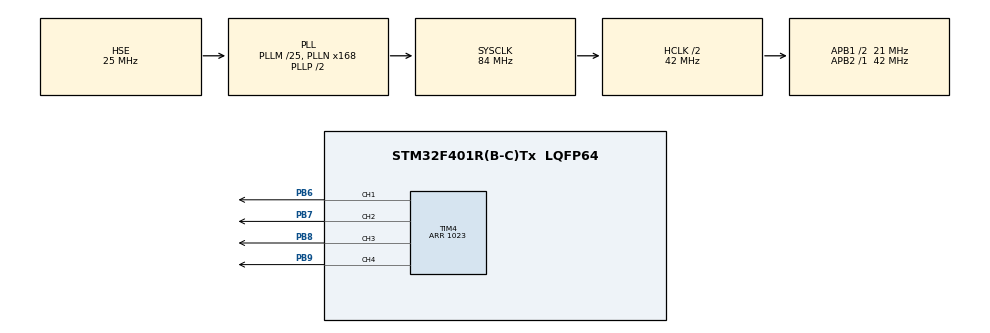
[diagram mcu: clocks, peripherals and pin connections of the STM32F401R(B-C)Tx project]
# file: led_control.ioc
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Mcu.Family=STM32F4
Mcu.Name=STM32F401R(B-C)Tx
Mcu.Package=LQFP64
NVIC.PriorityGroup=NVIC_PRIORITYGROUP_4
PB6.Signal=S_TIM4_CH1
PB7.Signal=S_TIM4_CH2
PB8.Signal=S_TIM4_CH3
PB9.Signal=S_TIM4_CH4
PH0\ -\ OSC_IN.Mode=HSE-External-Oscillator
PH0\ -\ OSC_IN.Signal=RCC_OSC_IN
PH1\ -\ OSC_OUT.Mode=HSE-External-Oscillator
PH1\ -\ OSC_OUT.Signal=RCC_OSC_OUT
ProjectManager.HeapSize=0x200
ProjectManager.StackSize=0x400
ProjectManager.TargetToolchain=STM32CubeIDE
RCC.48MHZClocksFreq_Value=42000000
RCC.AHBCLKDivider=RCC_SYSCLK_DIV2
RCC.AHBFreq_Value=42000000
RCC.APB1CLKDivider=RCC_HCLK_DIV2
RCC.APB1Freq_Value=21000000
RCC.APB1TimFreq_Value=42000000
RCC.APB2Freq_Value=42000000
RCC.APB2TimFreq_Value=42000000
RCC.CortexFreq_Value=42000000
RCC.HCLKFreq_Value=42000000
RCC.HSE_VALUE=25000000
RCC.HSI_VALUE=16000000
RCC.LSE_VALUE=32768
RCC.PLLM=25
RCC.PLLN=168
RCC.PLLSourceVirtual=RCC_PLLSOURCE_HSE
RCC.SYSCLKFreq_VALUE=84000000
RCC.SYSCLKSource=RCC_SYSCLKSOURCE_PLLCLK
RCC.VCOOutputFreq_Value=168000000
SH.S_TIM4_CH1.0=TIM4_CH1,PWM Generation1 CH1
SH.S_TIM4_CH2.0=TIM4_CH2,PWM Generation2 CH2
SH.S_TIM4_CH3.0=TIM4_CH3,PWM Generation3 CH3
SH.S_TIM4_CH4.0=TIM4_CH4,PWM Generation4 CH4
TIM4.Channel-PWM\ Generation1\ CH1=TIM_CHANNEL_1
TIM4.Channel-PWM\ Generation2\ CH2=TIM_CHANNEL_2
TIM4.Channel-PWM\ Generation3\ CH3=TIM_CHANNEL_3
TIM4.Channel-PWM\ Generation4\ CH4=TIM_CHANNEL_4
TIM4.Period=1023
VP_TIM4_VS_ClockSourceINT.Mode=Internal
board=custom

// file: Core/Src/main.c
/* USER CODE BEGIN Header */
/**
  ******************************************************************************
  * @file           : main.c
  * @brief          : Main program body
  ******************************************************************************
  * @attention
  *
  * Copyright (c) 2024 STMicroelectronics.
  * All rights reserved.
  *
  * This software is licensed under terms that can be found in the LICENSE file
  * in the root directory of this software component.
  * If no LICENSE file comes with this software, it is provided AS-IS.
  *
  ******************************************************************************
  */
/* USER CODE END Header */
#include "main.h"

TIM_HandleTypeDef htim4;

void SystemClock_Config(void);
static void MX_GPIO_Init(void);
static void MX_TIM4_Init(void);

int main(void)
{

  /* MCU Configuration--------------------------------------------------------*/

  /* Reset of all peripherals, Initializes the Flash interface and the Systick. */
  HAL_Init();

  /* Configure the system clock */
  SystemClock_Config();

  /* Initialize all configured peripherals */
  MX_GPIO_Init();
  MX_TIM4_Init();
  /* USER CODE BEGIN 2 */
  HAL_TIM_PWM_Start(&htim4, TIM_CHANNEL_1);
  HAL_TIM_PWM_Start(&htim4, TIM_CHANNEL_2);
  HAL_TIM_PWM_Start(&htim4, TIM_CHANNEL_3);
  HAL_TIM_PWM_Start(&htim4, TIM_CHANNEL_4);
  /* USER CODE END 2 */

  /* Infinite loop */
  /* USER CODE BEGIN WHILE */
  int activeChan = 0;
  __IO uint32_t* channels[] = {
      &htim4.Instance->CCR1,
      &htim4.Instance->CCR2,
      &htim4.Instance->CCR3,
      &htim4.Instance->CCR4,
  };
  const uint32_t max_value = htim4.Instance->ARR + 1;

  while (1)
  {
    for (int i = 0; i < 4; i++)
      *channels[i] = 0;

    for (int i = 0; i <= max_value; i++) {
      *channels[activeChan] = i;
      HAL_Delay(2);
    }
    HAL_Delay(500);
    for (int i = max_value; i >= 0; i--) {
      *channels[activeChan] = i;
      HAL_Delay(3);
    }
    /* USER CODE END WHILE */

    /* USER CODE BEGIN 3 */
    if (++activeChan == 4)
      activeChan = 0;
  }
  /* USER CODE END 3 */
}

void SystemClock_Config(void)
{
  RCC_OscInitTypeDef RCC_OscInitStruct = {0};
  RCC_ClkInitTypeDef RCC_ClkInitStruct = {0};

  /** Configure the main internal regulator output voltage
  */
  __HAL_RCC_PWR_CLK_ENABLE();
  __HAL_PWR_VOLTAGESCALING_CONFIG(PWR_REGULATOR_VOLTAGE_SCALE2);

  /** Initializes the RCC Oscillators according to the specified parameters
  * in the RCC_OscInitTypeDef structure.
  */
  RCC_OscInitStruct.OscillatorType = RCC_OSCILLATORTYPE_HSE;
  RCC_OscInitStruct.HSEState = RCC_HSE_ON;
  RCC_OscInitStruct.PLL.PLLState = RCC_PLL_ON;
  RCC_OscInitStruct.PLL.PLLSource = RCC_PLLSOURCE_HSE;
  RCC_OscInitStruct.PLL.PLLM = 25;
  RCC_OscInitStruct.PLL.PLLN = 168;
  RCC_OscInitStruct.PLL.PLLP = RCC_PLLP_DIV2;
  RCC_OscInitStruct.PLL.PLLQ = 4;
  if (HAL_RCC_OscConfig(&RCC_OscInitStruct) != HAL_OK)
  {
    Error_Handler();
  }

  /** Initializes the CPU, AHB and APB buses clocks
  */
  RCC_ClkInitStruct.ClockType = RCC_CLOCKTYPE_HCLK|RCC_CLOCKTYPE_SYSCLK
                              |RCC_CLOCKTYPE_PCLK1|RCC_CLOCKTYPE_PCLK2;
  RCC_ClkInitStruct.SYSCLKSource = RCC_SYSCLKSOURCE_PLLCLK;
  RCC_ClkInitStruct.AHBCLKDivider = RCC_SYSCLK_DIV2;
  RCC_ClkInitStruct.APB1CLKDivider = RCC_HCLK_DIV2;
  RCC_ClkInitStruct.APB2CLKDivider = RCC_HCLK_DIV1;

  if (HAL_RCC_ClockConfig(&RCC_ClkInitStruct, FLASH_LATENCY_1) != HAL_OK)
  {
    Error_Handler();
  }
}

static void MX_TIM4_Init(void)
{

  TIM_ClockConfigTypeDef sClockSourceConfig = {0};
  TIM_MasterConfigTypeDef sMasterConfig = {0};
  TIM_OC_InitTypeDef sConfigOC = {0};

  htim4.Instance = TIM4;
  htim4.Init.Prescaler = 0;
  htim4.Init.CounterMode = TIM_COUNTERMODE_UP;
  htim4.Init.Period = 1023;
  htim4.Init.ClockDivision = TIM_CLOCKDIVISION_DIV1;
  htim4.Init.AutoReloadPreload = TIM_AUTORELOAD_PRELOAD_DISABLE;
  if (HAL_TIM_Base_Init(&htim4) != HAL_OK)
  {
    Error_Handler();
  }
  sClockSourceConfig.ClockSource = TIM_CLOCKSOURCE_INTERNAL;
  if (HAL_TIM_ConfigClockSource(&htim4, &sClockSourceConfig) != HAL_OK)
  {
    Error_Handler();
  }
  if (HAL_TIM_PWM_Init(&htim4) != HAL_OK)
  {
    Error_Handler();
  }
  sMasterConfig.MasterOutputTrigger = TIM_TRGO_RESET;
  sMasterConfig.MasterSlaveMode = TIM_MASTERSLAVEMODE_DISABLE;
  if (HAL_TIMEx_MasterConfigSynchronization(&htim4, &sMasterConfig) != HAL_OK)
  {
    Error_Handler();
  }
  sConfigOC.OCMode = TIM_OCMODE_PWM1;
  sConfigOC.Pulse = 0;
  sConfigOC.OCPolarity = TIM_OCPOLARITY_HIGH;
  sConfigOC.OCFastMode = TIM_OCFAST_DISABLE;
  if (HAL_TIM_PWM_ConfigChannel(&htim4, &sConfigOC, TIM_CHANNEL_1) != HAL_OK)
  {
    Error_Handler();
  }
  if (HAL_TIM_PWM_ConfigChannel(&htim4, &sConfigOC, TIM_CHANNEL_2) != HAL_OK)
  {
    Error_Handler();
  }
  if (HAL_TIM_PWM_ConfigChannel(&htim4, &sConfigOC, TIM_CHANNEL_3) != HAL_OK)
  {
    Error_Handler();
  }
  if (HAL_TIM_PWM_ConfigChannel(&htim4, &sConfigOC, TIM_CHANNEL_4) != HAL_OK)
  {
    Error_Handler();
  }
  HAL_TIM_MspPostInit(&htim4);

}

static void MX_GPIO_Init(void)
{

  /* GPIO Ports Clock Enable */
  __HAL_RCC_GPIOH_CLK_ENABLE();
  __HAL_RCC_GPIOB_CLK_ENABLE();

}

void Error_Handler(void)
{
  __disable_irq();
  while (1)
  {
  }
}
